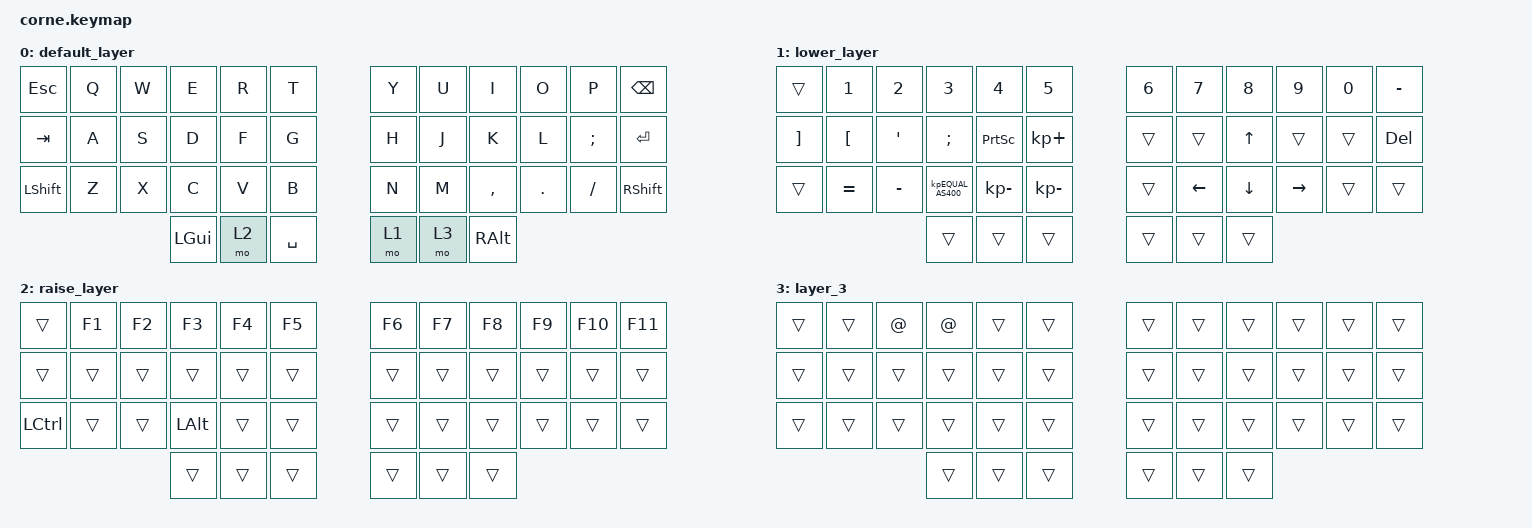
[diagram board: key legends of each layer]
/*
 * Copyright (c) 2020 The ZMK Contributors
 *
 * SPDX-License-Identifier: MIT
 */

#include <behaviors.dtsi>
#include <dt-bindings/zmk/keys.h>

/ {
    keymap {
        compatible = "zmk,keymap";

        default_layer {
            // -----------------------------------------------------------------------------------------
            // |  TAB |  Q  |  W  |  E  |  R  |  T  |   |  Y  |  U   |  I  |  O  |  P  | BKSP |
            // | CTRL |  A  |  S  |  D  |  F  |  G  |   |  H  |  J   |  K  |  L  |  ;  |  '   |
            // | SHFT |  Z  |  X  |  C  |  V  |  B  |   |  N  |  M   |  ,  |  .  |  /  | ESC  |
            //                    | GUI | LWR | SPC |   | ENT | RSE  | ALT |

            bindings = <
&kp ESCAPE  &kp Q  &kp W  &kp E     &kp R  &kp T        &kp Y  &kp U  &kp I      &kp O    &kp P     &kp BSPC
&kp TAB     &kp A  &kp S  &kp D     &kp F  &kp G        &kp H  &kp J  &kp K      &kp L    &kp SEMI  &kp ENTER
&kp LSHFT   &kp Z  &kp X  &kp C     &kp V  &kp B        &kp N  &kp M  &kp COMMA  &kp DOT  &kp FSLH  &kp RIGHT_SHIFT
                          &kp LGUI  &mo 2  &kp SPACE    &mo 1  &mo 3  &kp RALT
            >;
        };

        lower_layer {
            // -----------------------------------------------------------------------------------------
            // |  TAB |  1  |  2  |  3  |  4  |  5  |   |  6  |  7  |  8  |  9  |  0  | BKSP |
            // | BTCLR| BT1 | BT2 | BT3 | BT4 | BT5 |   | LFT | DWN |  UP | RGT |     |      |
            // | SHFT |     |     |     |     |     |   |     |     |     |     |     |      |
            //                    | GUI |     | SPC |   | ENT |     | ALT |

            bindings = <
&trans             &kp N1            &kp N2     &kp N3              &kp N4           &kp N5             &kp N6  &kp N7    &kp N8    &kp N9     &kp N0  &kp MINUS
&kp RIGHT_BRACKET  &kp LEFT_BRACKET  &kp SQT    &kp SEMI            &kp PRINTSCREEN  &kp KP_PLUS        &trans  &trans    &kp UP    &trans     &trans  &kp DEL
&trans             &kp EQUAL         &kp MINUS  &kp KP_EQUAL_AS400  &kp KP_MINUS     &kp KP_SUBTRACT    &trans  &kp LEFT  &kp DOWN  &kp RIGHT  &trans  &trans
                                                &trans              &trans           &trans             &trans  &trans    &trans
            >;
        };

        raise_layer {
            // -----------------------------------------------------------------------------------------
            // |  TAB |  !  |  @  |  #  |  $  |  %  |   |  ^  |  &  |  *  |  (  |  )  | BKSP |
            // | CTRL |     |     |     |     |     |   |  -  |  =  |  [  |  ]  |  \  |  `   |
            // | SHFT |     |     |     |     |     |   |  _  |  +  |  {  |  }  | "|" |  ~   |
            //                    | GUI |     | SPC |   | ENT |     | ALT |

            bindings = <
&trans     &kp F1  &kp F2  &kp F3        &kp F4  &kp F5    &kp F6  &kp F7  &kp F8  &kp F9  &kp F10  &kp F11
&trans     &trans  &trans  &trans        &trans  &trans    &trans  &trans  &trans  &trans  &trans   &trans
&kp LCTRL  &trans  &trans  &kp LEFT_ALT  &trans  &trans    &trans  &trans  &trans  &trans  &trans   &trans
                           &trans        &trans  &trans    &trans  &trans  &trans
            >;
        };

        layer_3 {
            bindings = <
&trans  &trans  &kp AT  &kp AT_SIGN  &trans  &trans    &trans  &trans  &trans  &trans  &trans  &trans
&trans  &trans  &trans  &trans       &trans  &trans    &trans  &trans  &trans  &trans  &trans  &trans
&trans  &trans  &trans  &trans       &trans  &trans    &trans  &trans  &trans  &trans  &trans  &trans
                        &trans       &trans  &trans    &trans  &trans  &trans
            >;
        };
    };
};
